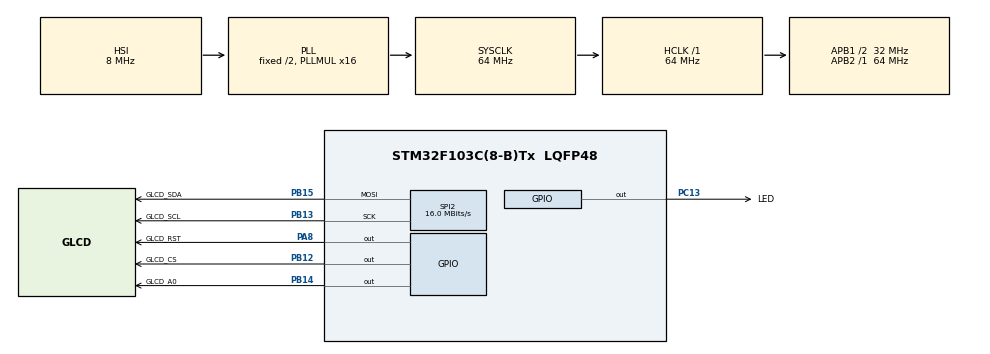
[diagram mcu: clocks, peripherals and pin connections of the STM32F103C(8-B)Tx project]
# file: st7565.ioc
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Mcu.Family=STM32F1
Mcu.Name=STM32F103C(8-B)Tx
Mcu.Package=LQFP48
NVIC.PriorityGroup=NVIC_PRIORITYGROUP_4
NVIC.TIM1_UP_IRQn=true\:1\:0\:true\:false\:true\:true\:true\:true
PA8.GPIO_Label=GLCD_RST
PA8.GPIO_Speed=GPIO_SPEED_FREQ_HIGH
PA8.Signal=GPIO_Output
PB12.GPIO_Label=GLCD_CS
PB12.GPIO_Speed=GPIO_SPEED_FREQ_HIGH
PB12.Signal=GPIO_Output
PB13.GPIO_Label=GLCD_SCL
PB13.Mode=TX_Only_Simplex_Unidirect_Master
PB13.Signal=SPI2_SCK
PB14.GPIO_Label=GLCD_A0
PB14.GPIO_Speed=GPIO_SPEED_FREQ_HIGH
PB14.Signal=GPIO_Output
PB15.GPIO_Label=GLCD_SDA
PB15.Mode=TX_Only_Simplex_Unidirect_Master
PB15.Signal=SPI2_MOSI
PC13-TAMPER-RTC.GPIO_Label=LED
PC13-TAMPER-RTC.Signal=GPIO_Output
PD0-OSC_IN.Mode=HSE-External-Oscillator
PD0-OSC_IN.Signal=RCC_OSC_IN
PD1-OSC_OUT.Mode=HSE-External-Oscillator
PD1-OSC_OUT.Signal=RCC_OSC_OUT
ProjectManager.HeapSize=0x200
ProjectManager.StackSize=0x400
ProjectManager.TargetToolchain=STM32CubeIDE
RCC.AHBFreq_Value=64000000
RCC.APB1CLKDivider=RCC_HCLK_DIV2
RCC.APB1Freq_Value=32000000
RCC.APB1TimFreq_Value=64000000
RCC.APB2Freq_Value=64000000
RCC.APB2TimFreq_Value=64000000
RCC.HCLKFreq_Value=64000000
RCC.PLLMUL=RCC_PLL_MUL16
RCC.SYSCLKFreq_VALUE=64000000
RCC.SYSCLKSource=RCC_SYSCLKSOURCE_PLLCLK
RCC.USBFreq_Value=64000000
SPI2.BaudRatePrescaler=SPI_BAUDRATEPRESCALER_2
SPI2.CalculateBaudRate=16.0 MBits/s
SPI2.Direction=SPI_DIRECTION_2LINES
SPI2.Mode=SPI_MODE_MASTER
SPI2.VirtualType=VM_MASTER
VP_SYS_VS_ND.Mode=No_Debug
VP_TIM1_VS_ClockSourceINT.Mode=Internal
board=custom

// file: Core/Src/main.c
/* USER CODE BEGIN Header */
/**
  ******************************************************************************
  * @file           : main.c
  * @brief          : Main program body
  ******************************************************************************
  * @attention
  *
  * Copyright (c) 2024 STMicroelectronics.
  * All rights reserved.
  *
  * This software is licensed under terms that can be found in the LICENSE file
  * in the root directory of this software component.
  * If no LICENSE file comes with this software, it is provided AS-IS.
  *
  ******************************************************************************
  */
/* USER CODE END Header */
#include "main.h"

/* USER CODE BEGIN Includes */
#include "st7565.h"

/* USER CODE END Includes */

SPI_HandleTypeDef hspi2;

TIM_HandleTypeDef htim1;

void SystemClock_Config(void);
static void MX_GPIO_Init(void);
static void MX_SPI2_Init(void);
static void MX_TIM1_Init(void);

int main(void)
{

  /* MCU Configuration--------------------------------------------------------*/

  /* Reset of all peripherals, Initializes the Flash interface and the Systick. */
  HAL_Init();

  /* Configure the system clock */
  SystemClock_Config();

  /* Initialize all configured peripherals */
  MX_GPIO_Init();
  MX_SPI2_Init();
  MX_TIM1_Init();
  /* USER CODE BEGIN 2 */
  delay_init();

  glcd_begin(13); // 0..63

  /* USER CODE END 2 */

  /* Infinite loop */
  /* USER CODE BEGIN WHILE */
  while (1) {
    glcd_drawstring(0, 0, "abcdefghijklmnopqrstuvwxyz");
    glcd_display();
    delay_ms(1000);
    glcd_drawstring(0, 2, "ABCDEFGHIJKLMNOPQRSTUVWXYZ");
    glcd_display();
    delay_ms(1000);
    glcd_drawstring(0, 4, "01234567890123456789012345");
    glcd_display();
    delay_ms(1000);
    glcd_clear();
    glcd_display();
    delay_ms(1000);
    /* USER CODE END WHILE */

  }
}

void SystemClock_Config(void)
{
  RCC_OscInitTypeDef RCC_OscInitStruct = {0};
  RCC_ClkInitTypeDef RCC_ClkInitStruct = {0};

  /** Initializes the RCC Oscillators according to the specified parameters
  * in the RCC_OscInitTypeDef structure.
  */
  RCC_OscInitStruct.OscillatorType = RCC_OSCILLATORTYPE_HSI;
  RCC_OscInitStruct.HSIState = RCC_HSI_ON;
  RCC_OscInitStruct.HSICalibrationValue = RCC_HSICALIBRATION_DEFAULT;
  RCC_OscInitStruct.PLL.PLLState = RCC_PLL_ON;
  RCC_OscInitStruct.PLL.PLLSource = RCC_PLLSOURCE_HSI_DIV2;
  RCC_OscInitStruct.PLL.PLLMUL = RCC_PLL_MUL16;
  if (HAL_RCC_OscConfig(&RCC_OscInitStruct) != HAL_OK)
  {
    Error_Handler();
  }

  /** Initializes the CPU, AHB and APB buses clocks
  */
  RCC_ClkInitStruct.ClockType = RCC_CLOCKTYPE_HCLK|RCC_CLOCKTYPE_SYSCLK
                              |RCC_CLOCKTYPE_PCLK1|RCC_CLOCKTYPE_PCLK2;
  RCC_ClkInitStruct.SYSCLKSource = RCC_SYSCLKSOURCE_PLLCLK;
  RCC_ClkInitStruct.AHBCLKDivider = RCC_SYSCLK_DIV1;
  RCC_ClkInitStruct.APB1CLKDivider = RCC_HCLK_DIV2;
  RCC_ClkInitStruct.APB2CLKDivider = RCC_HCLK_DIV1;

  if (HAL_RCC_ClockConfig(&RCC_ClkInitStruct, FLASH_LATENCY_2) != HAL_OK)
  {
    Error_Handler();
  }
}

static void MX_SPI2_Init(void)
{

  /* SPI2 parameter configuration*/
  hspi2.Instance = SPI2;
  hspi2.Init.Mode = SPI_MODE_MASTER;
  hspi2.Init.Direction = SPI_DIRECTION_2LINES;
  hspi2.Init.DataSize = SPI_DATASIZE_8BIT;
  hspi2.Init.CLKPolarity = SPI_POLARITY_LOW;
  hspi2.Init.CLKPhase = SPI_PHASE_1EDGE;
  hspi2.Init.NSS = SPI_NSS_SOFT;
  hspi2.Init.BaudRatePrescaler = SPI_BAUDRATEPRESCALER_2;
  hspi2.Init.FirstBit = SPI_FIRSTBIT_MSB;
  hspi2.Init.TIMode = SPI_TIMODE_DISABLE;
  hspi2.Init.CRCCalculation = SPI_CRCCALCULATION_DISABLE;
  hspi2.Init.CRCPolynomial = 10;
  if (HAL_SPI_Init(&hspi2) != HAL_OK)
  {
    Error_Handler();
  }

}

static void MX_TIM1_Init(void)
{

  TIM_ClockConfigTypeDef sClockSourceConfig = {0};
  TIM_MasterConfigTypeDef sMasterConfig = {0};

  htim1.Instance = TIM1;
  htim1.Init.Prescaler = 0;
  htim1.Init.CounterMode = TIM_COUNTERMODE_UP;
  htim1.Init.Period = 65535;
  htim1.Init.ClockDivision = TIM_CLOCKDIVISION_DIV1;
  htim1.Init.RepetitionCounter = 0;
  htim1.Init.AutoReloadPreload = TIM_AUTORELOAD_PRELOAD_DISABLE;
  if (HAL_TIM_Base_Init(&htim1) != HAL_OK)
  {
    Error_Handler();
  }
  sClockSourceConfig.ClockSource = TIM_CLOCKSOURCE_INTERNAL;
  if (HAL_TIM_ConfigClockSource(&htim1, &sClockSourceConfig) != HAL_OK)
  {
    Error_Handler();
  }
  sMasterConfig.MasterOutputTrigger = TIM_TRGO_RESET;
  sMasterConfig.MasterSlaveMode = TIM_MASTERSLAVEMODE_DISABLE;
  if (HAL_TIMEx_MasterConfigSynchronization(&htim1, &sMasterConfig) != HAL_OK)
  {
    Error_Handler();
  }

}

static void MX_GPIO_Init(void)
{
  GPIO_InitTypeDef GPIO_InitStruct = {0};

  /* GPIO Ports Clock Enable */
  __HAL_RCC_GPIOC_CLK_ENABLE();
  __HAL_RCC_GPIOD_CLK_ENABLE();
  __HAL_RCC_GPIOB_CLK_ENABLE();
  __HAL_RCC_GPIOA_CLK_ENABLE();

  /*Configure GPIO pin Output Level */
  HAL_GPIO_WritePin(LED_GPIO_Port, LED_Pin, GPIO_PIN_RESET);

  /*Configure GPIO pin Output Level */
  HAL_GPIO_WritePin(GPIOB, GLCD_CS_Pin|GLCD_A0_Pin, GPIO_PIN_RESET);

  /*Configure GPIO pin Output Level */
  HAL_GPIO_WritePin(GLCD_RST_GPIO_Port, GLCD_RST_Pin, GPIO_PIN_RESET);

  /*Configure GPIO pin : LED_Pin */
  GPIO_InitStruct.Pin = LED_Pin;
  GPIO_InitStruct.Mode = GPIO_MODE_OUTPUT_PP;
  GPIO_InitStruct.Pull = GPIO_NOPULL;
  GPIO_InitStruct.Speed = GPIO_SPEED_FREQ_LOW;
  HAL_GPIO_Init(LED_GPIO_Port, &GPIO_InitStruct);

  /*Configure GPIO pins : GLCD_CS_Pin GLCD_A0_Pin */
  GPIO_InitStruct.Pin = GLCD_CS_Pin|GLCD_A0_Pin;
  GPIO_InitStruct.Mode = GPIO_MODE_OUTPUT_PP;
  GPIO_InitStruct.Pull = GPIO_NOPULL;
  GPIO_InitStruct.Speed = GPIO_SPEED_FREQ_HIGH;
  HAL_GPIO_Init(GPIOB, &GPIO_InitStruct);

  /*Configure GPIO pin : GLCD_RST_Pin */
  GPIO_InitStruct.Pin = GLCD_RST_Pin;
  GPIO_InitStruct.Mode = GPIO_MODE_OUTPUT_PP;
  GPIO_InitStruct.Pull = GPIO_NOPULL;
  GPIO_InitStruct.Speed = GPIO_SPEED_FREQ_HIGH;
  HAL_GPIO_Init(GLCD_RST_GPIO_Port, &GPIO_InitStruct);

}

void Error_Handler(void)
{
  __disable_irq();
  while (1)
  {
  }
}
